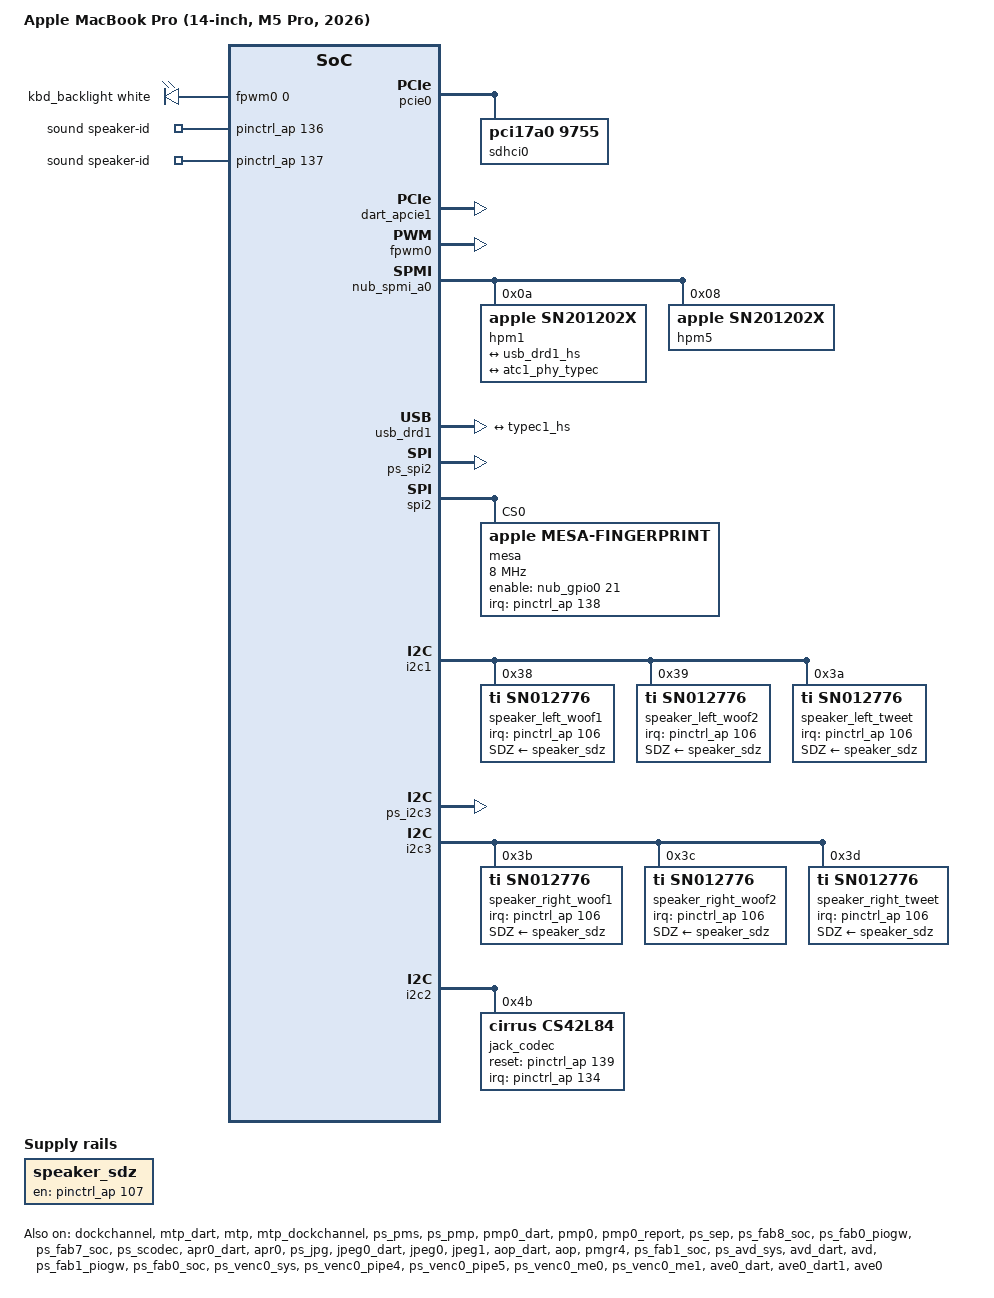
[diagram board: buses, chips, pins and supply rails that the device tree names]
// SPDX-License-Identifier: GPL-2.0+ OR MIT
/*
 * MacBook Pro (14-inch, M5 Pro, 2026)
 *
 * target-type: J714s
 *
 * One T6050 die (t6050-max.dtsi). Beyond the SoC this file adds the board's
 * hardware inventory (t6050-peripherals.dtsi) from the board's ADT, disabled
 * except for the PMP below.
 *
 * Copyright The Asahi Linux Contributors
 */

/dts-v1/;

#define T6050_J714S
#include <dt-bindings/leds/common.h>
#include "t6050-max.dtsi"

/* The console on the USB debug link: ADT dockchannel-uart, channel 1 */
/ {
	aliases {
		serial0 = &dockchannel;
	};

	chosen {
		stdout-path = "serial0:1500000n8";
	};
};

/*
 * It drains only while a host reads it; the machine also boots with nothing
 * attached there.
 */
&dockchannel {
	apple,tx-never-wait;
	status = "okay";
};

/ {
	compatible = "apple,j714s", "apple,t6050", "apple,arm-platform";
	model = "Apple MacBook Pro (14-inch, M5 Pro, 2026)";
	chassis-type = "laptop";

	aliases {
		/* the boot loader reserves the SEP firmware and adds its manifests through this alias */
		sep = &sep;
	};

	chosen {
		#address-cells = <2>;
		#size-cells = <2>;
		ranges;

		framebuffer0: framebuffer@0 {
			compatible = "apple,simple-framebuffer", "simple-framebuffer";
			reg = <0 0 0 0>; /* To be filled by the loader */
			/* Format properties will be added by the loader */
			status = "disabled";
		};
	};
};

/*
 * PCIe port 0: the N1 (Wi-Fi and Bluetooth), as on J716s. ADT apcie0 gives port
 * 0's registers and IRQ 1523, and pci-bridge0's PERST# is GPIO 80; the N1's three
 * functions are on DART streams 1-3. The boot loader trains the link and then
 * enables port 0 and its DART.
 *
 * PCIe port 1: the SD card reader (ADT pci-bridge1/pcie-sdreader, a GL9755). The
 * boot loader leaves it down, so the kernel trains it: its power is the SMC pcIO
 * output of the ADT's function-sd_pwr_en, its PERST# GPIO 81, its IRQ 1531, and
 * the link tunables below are pci-bridge1's. It is on stream 1 of dart-apcie1,
 * which answers only once the root complex is up. The kernel's train reads the
 * shared PHY's state (ADT reg[3]); the boot loader leaves it up with port 0.
 */
/ {
	aliases {
		/* The loader fills the N1's factory addresses through these */
		wifi0 = &n1_alpha;
		bluetooth0 = &n1_beta;
	};
};

&pcie0 {
	reg = <0x1c 0xb0000000 0x0 0x10000000>,
	      <0x4 0x14000000 0x0 0x4000>,
	      <0x4 0x10028000 0x0 0x8000>,
	      <0x4 0x17010000 0x0 0x4000>,
	      <0x4 0x10024000 0x0 0x4000>,
	      <0x4 0x11028000 0x0 0x8000>,
	      <0x4 0x17014000 0x0 0x4000>,
	      <0x4 0x11024000 0x0 0x4000>,
	      <0x4 0x17020000 0x0 0x4000>;
	reg-names = "config", "rc", "port0", "phy0", "intr2axi0", "port1", "phy1", "intr2axi1",
		    "phy-shared";
	interrupts = <AIC_IRQ 0 1523 IRQ_TYPE_LEVEL_HIGH>,
		     <AIC_IRQ 0 1531 IRQ_TYPE_LEVEL_HIGH>;
	interrupt-names = "port0", "port1";
	iommu-map = <0x100 &dart_apcie0 1 3>,
		    <0x200 &dart_apcie1 1 1>;
	bus-range = <0 4>;
	/* dart_apcie1 probes only once port 1 is up: the host must not wait for it */
	post-init-providers = <&dart_apcie1>;
	status = "okay";

	port00: pci@0,0 {
		device_type = "pci";
		reg = <0x0 0 0 0 0>;
		bus-range = <1 1>;
		apple,link-trained-by-bootloader;
		/* PERST#: ADT pci-bridge0 function-perst, GPIO 80 */
		reset-gpios = <&pinctrl_ap 80 GPIO_ACTIVE_LOW>;
		status = "disabled";

		#address-cells = <3>;
		#size-cells = <2>;
		ranges;

		interrupt-controller;
		#interrupt-cells = <1>;
		interrupt-map-mask = <0 0 0 7>;
		interrupt-map = <0 0 0 1 &port00 0 0 0 0>,
				<0 0 0 2 &port00 0 0 0 1>,
				<0 0 0 3 &port00 0 0 0 2>,
				<0 0 0 4 &port00 0 0 0 3>;

		/* platform ID (ADT /chosen board-id 0x08 << 16) | chip 0x6050 */
		n1_control: control@0,0 {
			compatible = "pci106b,1900";
			reg = <0x10000 0x0 0x0 0x0 0x0>;
			firmware-name = "apple/centauri/j714s-ftab.bin";
			apple,centauri-platform-id = <0x00086050>;
			apple,centauri-protocol = <27>;
		};

		n1_alpha: wifi@0,1 {
			compatible = "pci106b,1902";
			reg = <0x10100 0x0 0x0 0x0 0x0>;
			local-mac-address = [00 00 00 00 00 00];
		};

		n1_beta: bluetooth@0,2 {
			compatible = "pci106b,1903";
			reg = <0x10200 0x0 0x0 0x0 0x0>;
			local-bd-address = [00 00 00 00 00 00];
		};
	};

	port01: pci@1,0 {
		device_type = "pci";
		reg = <0x800 0 0 0 0>;
		bus-range = <2 2>;
		/* Down at boot: the kernel trains it, powering the reader first */
		apple,link-trained-by-bootloader;
		pwren-gpios = <&smc_pcio 0 GPIO_ACTIVE_HIGH>;
		/* PERST#: ADT pci-bridge1 function-perst, GPIO 81 */
		reset-gpios = <&pinctrl_ap 81 GPIO_ACTIVE_LOW>;
		apple,apcie-config-tunables = <0x140 4 0x1 0x1>,
			<0x144 4 0xffffff 0x253770>,
			<0x8a8 4 0x1 0x1>,
			<0x8ac 4 0x1 0x1>;
		apple,pcie-rc-tunables = <0x78 4 0x7000 0x0>,
			<0x194 4 0x2 0x2>,
			<0xb80 4 0x7f3f3f 0x7f1e1e>,
			<0xb88 4 0x7f3f3f 0x7f1e1e>;
		apple,pcie-rc-gen3-shadow-tunables = <0x154 4 0xf0f0f0f 0x5050505>,
			<0x890 4 0x3000000 0x0>,
			<0x8a8 4 0xffff0f 0x1>;
		apple,pcie-rc-gen4-shadow-tunables = <0x178 4 0xffff 0x5555>,
			<0x890 4 0x3000000 0x1000000>,
			<0x8a8 4 0xffff0f 0x1>;
		apple,pcie-rc-gen5-shadow-tunables = <0x1ac 4 0xffff 0x5555>,
			<0x890 4 0x3000000 0x2000000>,
			<0x8a8 4 0xffff0f 0x1>;

		#address-cells = <3>;
		#size-cells = <2>;
		ranges;

		interrupt-controller;
		#interrupt-cells = <1>;
		interrupt-map-mask = <0 0 0 7>;
		interrupt-map = <0 0 0 1 &port01 0 0 0 0>,
				<0 0 0 2 &port01 0 0 0 1>,
				<0 0 0 3 &port01 0 0 0 2>,
				<0 0 0 4 &port01 0 0 0 3>;

		/* The GL9755; card detect and write protect active high (ADT *-polarity = 1) */
		sdhci0: mmc@0,0 {
			compatible = "pci17a0,9755";
			reg = <0x20000 0x0 0x0 0x0 0x0>;
			cd-inverted;
			wp-inverted;
		};
	};
};

/*
 * Pin 112 takes an SError when read (as on J716c and J716s), so only the pins
 * nodes here name are exposed: 80 and 81, PCIe ports 0 and 1's PERST#; 106 and 107,
 * the speaker amps' interrupt and shutdown line; 134 and 139, the jack codec's
 * interrupt and reset; 136 and 137, the speaker ID; 138, the Touch ID sensor's
 * data-ready line.
 */
&pinctrl_ap {
	gpio-reserved-ranges = <0 80>, <82 24>, <108 26>, <135 1>, <140 81>;
};

/* It answers only once port 1's root complex is up: pcie-apple then enables it */
&dart_apcie1 {
	apple,manual-availability;
	status = "okay";
};

/* The keyboard backlight: ADT pwm0/kbd-backlight, channel 0 at 25 kHz */
/ {
	aliases {
		/* The loader fills the keyboard layout from the ADT's keyboard node */
		keyboard = &keyboard;
	};

	led-controller {
		compatible = "pwm-leds";

		led-0 {
			pwms = <&fpwm0 0 40000>;
			label = "kbd_backlight";
			function = LED_FUNCTION_KBD_BACKLIGHT;
			color = <LED_COLOR_ID_WHITE>;
			max-brightness = <255>;
			default-state = "keep";
		};
	};
};

&fpwm0 {
	status = "okay";
};

/* The MTP and its DockChannel FIFO, which carry the keyboard and trackpad */
&mtp_mbox {
	status = "okay";
};

&mtp_dart {
	status = "okay";
};

&mtp {
	status = "okay";
};

/*
 * The keyboard and trackpad: the HID transport on the MTP's DockChannel FIFO
 * (ADT dockchannel-mtp/mtp-transport: multi-touch, keyboard, stm, actuator,
 * tp-accel), as on J716s.
 */
&mtp_dockchannel {
	status = "okay";

	mtp_hid: input@8000 {
		compatible = "apple,dockchannel-hid";
		reg = <0x8000 0x1000>, <0xc000 0x1000>,
		      <0x0 0x1000>, <0x4000 0x1000>;
		reg-names = "config", "data", "rmt-config", "rmt-data";
		iommus = <&mtp_dart 0>;
		interrupt-parent = <&mtp_dockchannel>;
		interrupts = <2 IRQ_TYPE_LEVEL_HIGH>,
			     <3 IRQ_TYPE_LEVEL_HIGH>;
		interrupt-names = "tx", "rx";
		apple,fifo-size = <0x800>;
		apple,helper-cpu = <&mtp>;
		/*
		 * ADT mtp function-afe-reset is the SMC pcIO template (0x10000, 0x11c0000),
		 * the same line as SMC GPIO gp1c, active low, which gpio-macsmc drives.
		 */
		apple,afe-reset-gpios = <&smc_gpio_low 28 GPIO_ACTIVE_LOW>;

		multi-touch {
			apple,power-method = <2>;
			firmware-name = "apple/tpmtfw-j714s.bin";
		};

		keyboard: keyboard {
			hid-country-code = <0>;
			apple,keyboard-layout-id = <0>;
		};

		stm {
		};

		actuator {
		};

		tp-accel {
		};
	};
};

/*
 * The SMC pcIO outputs this board drives, as pKW8('pcIO', lo, hi) templates written
 * (hi << 32) | lo with the level in the low bits. The AFE reset above uses gp1c.
 *   0 sd_pwr_en (0x0, 0x190000): ADT pcie-sdreader function-sd_pwr_en
 */
&smc_pcio {
	apple,output-commands = /bits/ 64 <0x0019000000000000>;
};

#include "t6050-peripherals.dtsi"

/*
 * Type-C, from the ADT:
 *   ATC0 usb-drd0 left-back  hpm0 nub-spmi-a0 0x0c (the debug port)
 *   ATC1 usb-drd1 left-front hpm1 nub-spmi-a0 0x0a
 *   ATC2 usb-drd2 right      hpm2 nub-spmi-a1 0x0c
 *   hpm5 nub-spmi-a0 0x08 (MagSafe 3, power in only: no connector node)
 * There is no usb-drd3 and no nub-spmi-a2, so ATC3's USB chain and that bus stay
 * off. The left-front and right ports are wired as on J716s; the left-back port is in
 * t6050-j714s-left-back.dtsi.
 */
&atc3_phy_mbox {
	status = "disabled";
};

&atc3_phy {
	status = "disabled";
};

&usb_drd3 {
	status = "disabled";
};

&usb_drd3_dart_0 {
	status = "disabled";
};

&usb_drd3_dart_1 {
	status = "disabled";
};

&nub_spmi_a2 {
	status = "disabled";
};

/* Left-front port (ATC1): the SN201202x hpm1 and the connector graph */
&nub_spmi_a0 {
	hpm1: usb-pd@a {
		compatible = "apple,sn201202x";
		reg = <0xa SPMI_USID>;

		typec1: connector {
			compatible = "usb-c-connector";
			label = "USB-C Left-front";
			power-role = "dual";
			data-role = "dual";

			ports {
				#address-cells = <1>;
				#size-cells = <0>;

				port@0 {
					reg = <0>;
					typec1_hs: endpoint {
						remote-endpoint = <&usb_drd1_hs>;
					};
				};

				port@1 {
					reg = <1>;
					typec1_ss: endpoint {
						remote-endpoint = <&atc1_phy_typec>;
					};
				};
			};
		};
	};

	/*
	 * The MagSafe 3 port's PD controller (ADT hpm5, port-type 0x11). It has no USB data
	 * path, so it gets no connector node; tipd registers a Type-C port and a power supply
	 * for it, as on J616s. Its ADT features-supported is <3>, "Power In" only: no liquid
	 * detection (LDCM, feature 2 of the USB-C ports' <1 2 3>).
	 */
	hpm5: usb-pd@8 {
		compatible = "apple,sn201202x";
		reg = <0x8 SPMI_USID>;
		apple,no-liquid-detection;
	};
};

&usb_drd1 {
	port {
		usb_drd1_hs: endpoint {
			remote-endpoint = <&typec1_hs>;
		};
	};
};

&atc1_phy {
	port {
		atc1_phy_typec: endpoint {
			remote-endpoint = <&typec1_ss>;
		};
	};
};

/*
 * Right port (ATC2): hpm2 on nub-spmi-a1, with USB and the USB4/Thunderbolt router. The
 * inventory's nub-spmi-a1 has the generation 4 bus's three register windows and IRQ (ADT
 * nub-spmi-a1). The driver polls it and refuses an interrupt, so it takes the command window
 * and the fault queue's (ADT reg[0] and reg[1]), as for nub-spmi-a0 below.
 */
&nub_spmi_a1 {
	reg = <0x2 0x8a1a8000 0x0 0x4000>,
	      <0x2 0x8a1a4000 0x0 0x4000>;
	/delete-property/ interrupts;
	status = "okay";
};

/* nub-spmi-a0's fault queue window (ADT reg[1]), which macOS empties when the controller starts */
&nub_spmi_a0 {
	reg = <0x2 0x8a188000 0x0 0x4000>,
	      <0x2 0x8a184000 0x0 0x4000>;
};

#include "t6050-max-atc2.dtsi"

/* The host DROM from the J714sAP ADT (/arm-io/acio2 thunderbolt-drom); the boot loader replaces it */
&acio2_nhi {
	apple,thunderbolt-drom = [fd 02 00 00 00 00 00 00 00 90 19 c3 8c 00 5c 00
			00 00 00 00 00 00 08 81 82 02 82 00 00 00 08 82
			92 01 82 00 00 00 03 83 20 08 84 00 00 00 00 00
			00 08 85 00 00 00 00 00 00 05 86 09 01 00 08 87
			00 00 00 00 00 00 05 88 09 01 00 05 89 09 01 00
			05 8a 09 01 00 0e 01 41 70 70 6c 65 2c 20 49 6e
			63 2e 00 06 02 69 4f 53 00 00 00 00];
};

/* Left-front port (ATC1): the USB4/Thunderbolt router and its PCIe tunnel */
#include "t6050-j714s-left-usb4.dtsi"

/* Left-back port (ATC0) */
#include "t6050-j714s-left-back.dtsi"

/* Reserve ATC0 LSTX until aura hands it over; ATC1/2 retain their pins. */
&pinctrl_aop {
	gpio-reserved-ranges = <0 79>, <80 1>, <82 3>;
};

/*
 * The PMP (ADT pmp0, /chosen, /arm-io/pmgr). iBoot loads its firmware and the driver starts it
 * with these boot arguments and the firmware properties below. Its report tells it which devices
 * are on; it then votes DCS and the fabric for GPU load itself, and the PMC honours that next
 * to the CLPC. The report, the PMP's vote and the GPU's request are enabled together, so the
 * GPU never waits on a disabled report.
 */
&ps_pms {
	status = "okay";
};

&ps_pmp {
	status = "okay";
};

&ps_pms_sram {
	status = "okay";
};

&pmp0_dart {
	status = "okay";
};

&pmp0_mbox {
	status = "okay";
};

&pmp0 {
	/* ADT /chosen board-id, dram-vendor-id */
	apple,board-id = <8>;
	apple,dram-vendor-id = <255>;
	/* ADT /arm-io/pmgr pmc, pmc-pmgr */
	apple,pmc = <1>;
	apple,pmc-pmgr = <63>;
	status = "okay";
};

&pmp0_report {
	status = "okay";
};

/*
 * The PMP runs a control loop on the die's hot-spot sensors and publishes an effort for each
 * cluster in its FAST-DIE-CE range, in the order of the ADT's fast-die-ctrl-ce-map: MACC0, MACC1
 * and PACC_ANE (the P cluster). The OS enforces it as a frequency limit; the ADT's CLPC node lists
 * the same range among its ptd-ranges. Without the limit the clusters keep their top state while
 * the effort sits at its maximum under a sustained all-core load. Until the PMP reports that it
 * runs (also on a boot without the PMP driver), cpufreq holds each cluster at its fallback limit.
 */
&cpufreq_mc0 {
	apple,fast-die-effort = <&pmp0_report 0>;
};

&cpufreq_mc1 {
	apple,fast-die-effort = <&pmp0_report 1>;
};

&cpufreq_pc {
	apple,fast-die-effort = <&pmp0_report 2>;
};

&pmc {
	/* PMP, CLPC and AP agents, once the PMP runs */
	apple,static-voters = <0 1 3>;
	apple,pmp = <&pmp0>;
};

&sgx {
	power-domains = <&pmp0_gfx>;
};

/*
 * The SEP (ADT sep, dart-sep): its mailbox, and its power domain with the two
 * fabric parents left to the firmware, which genpd votes on and never turns off.
 * The boot loader enables the SEP itself through its alias.
 */
&sep_mbox {
	status = "okay";
};

&ps_sep {
	status = "okay";
};

&ps_fab8_soc {
	apple,firmware-owned;
	status = "okay";
};

&ps_fab0_piogw {
	apple,firmware-owned;
	status = "okay";
};

/*
 * Touch ID (ADT spi2/mesa): J616s's Mesa sensor (sensor-id 0x3356) at 8 MHz on
 * chip select 0, powered by NUB GPIO 21 (function-mesa_pwr), data ready on AP
 * GPIO 138. The controller's clock (ADT clock-ids 451) is the 24 MHz reference.
 */
&ps_nub_gpio {
	status = "okay";
};

&nub_gpio0 {
	status = "okay";
};

&ps_spi2 {
	status = "okay";
};

&spi2 {
	clocks = <&clkref>;
	status = "okay";

	mesa: fingerprint@0 {
		compatible = "apple,mesa-fingerprint";
		reg = <0>;
		spi-max-frequency = <8000000>;
		spi-cpol;
		spi-cs-setup-delay-ns = <20>;
		spi-cs-hold-delay-ns = <20>;
		enable-gpios = <&nub_gpio0 21 GPIO_ACTIVE_HIGH>;
		interrupt-parent = <&pinctrl_ap>;
		interrupts = <138 IRQ_TYPE_EDGE_RISING>;
		/* Per-device factory data from this Mac's own iBoot system container */
		firmware-name = "apple/mesacal-j714s.bin", "apple/msrk-j714s.bin";
	};
};

/*
 * The ProRes engine (apr0) and its DART, in the SCODEC power state. Its
 * parent fab7-soc also feeds the display pipeline, so it is left to the
 * firmware, as fab0-piogw is.
 */
&ps_fab7_soc {
	apple,firmware-owned;
	status = "okay";
};

&ps_scodec {
	status = "okay";
};

&apr0_dart {
	status = "okay";
};

&apr0 {
	status = "okay";
};

/*
 * Both JPEG engines and their shared DART, under the media fabric that the
 * video encoder above already enables.
 */
&ps_jpg {
	status = "okay";
};

&jpeg0_dart {
	status = "okay";
};

&jpeg0 {
	status = "okay";
};

&jpeg1 {
	status = "okay";
};

#include "t6050-j714s-pmp-tunables.dtsi"

/*
 * SMC sensors, as on J716s except that userspace may set the fans (below): the
 * shared fan, power, voltage and current keys, plus every readable float T* key
 * through apple,discover-temperatures in t6050-die0.dtsi, labelled with the key
 * name. A key this SMC lacks only drops its channel.
 *
 * Discovery refuses to run once any temperature channel exists, so the shared
 * temperature nodes go (their keys are discovered anyway), and so does
 * apple,soc-die-keys, whose channel would also count. Only the macsmc_soc_die
 * thermal zone is lost.
 */
#include "hwmon-common.dtsi"
#include "hwmon-fan-dual.dtsi"
#include "hwmon-laptop.dtsi"

&smc_hwmon {
	/delete-property/ apple,soc-die-keys;
	/delete-node/ temperature-TH0x;
	/delete-node/ temperature-TB0T;
	/delete-node/ temperature-TCHP;
	/delete-node/ temperature-TW0P;

	/*
	 * The T6050 SMC spells the fan mode keys F0md/F1md. The SMC drives the
	 * fans (the M5 GPU governor sets them through macsmc_hwmon_fans_request()
	 * as well); it also accepts a manual speed for both from userspace and
	 * returns them to firmware control when the request is dropped.
	 */
	fan-F0Ac {
		apple,fan-mode = "F0md";
		apple,fan-manual-control;
	};

	fan-F1Ac {
		apple,fan-mode = "F1md";
		apple,fan-manual-control;
	};
};

/* The same T6050 camera as J716c (J714sAP ADT); the loader sets the J714s sensor type. */
#include "t6050-j716c-isp.dtsi"

/*
 * The J714s camera sizes: sensor config 8 (the 3040x2880 frame binned 2x2 to 1520x1440)
 * cropped and scaled by the ISP per size. Binning averages four pixels: indoors it shows
 * a third to a fifth of the luma noise and about half the colour noise of the
 * full-resolution configs (5, 6, 7 and 0), for some fine detail. Each crop is centred on
 * the frame, where the lens covers it: the landscape sizes take two-thirds of its width,
 * the portrait sizes the same length of its height and the square that side. The binned
 * crops are too small for the driver to derive 1280x960 and 960x1280 from them without
 * upscaling, so those two are listed as well.
 */
&isp0 {
	/delete-node/ sensor-presets;

	sensor-presets {
		/* 1920x1080 */
		preset0 {
			apple,config-index = <8>;
			apple,input-size = <1520 1440>;
			apple,output-size = <1920 1080>;
			apple,crop = <254 434 1012 570>;
		};
		/* 640x480 */
		preset1 {
			apple,config-index = <8>;
			apple,input-size = <1520 1440>;
			apple,output-size = <640 480>;
			apple,crop = <254 340 1012 760>;
		};
		/* 1280x720 */
		preset2 {
			apple,config-index = <8>;
			apple,input-size = <1520 1440>;
			apple,output-size = <1280 720>;
			apple,crop = <254 434 1012 570>;
		};
		/* 1760x1328 */
		preset3 {
			apple,config-index = <8>;
			apple,input-size = <1520 1440>;
			apple,output-size = <1760 1328>;
			apple,crop = <254 338 1012 764>;
		};
		/* 1328x1760 */
		preset4 {
			apple,config-index = <8>;
			apple,input-size = <1520 1440>;
			apple,output-size = <1328 1760>;
			apple,crop = <378 214 764 1012>;
		};
		/* 1552x1552 */
		preset5 {
			apple,config-index = <8>;
			apple,input-size = <1520 1440>;
			apple,output-size = <1552 1552>;
			apple,crop = <254 214 1012 1012>;
		};
		/* 1080x1920 */
		preset6 {
			apple,config-index = <8>;
			apple,input-size = <1520 1440>;
			apple,output-size = <1080 1920>;
			apple,crop = <474 214 570 1012>;
		};
		/* 1280x960 */
		preset7 {
			apple,config-index = <8>;
			apple,input-size = <1520 1440>;
			apple,output-size = <1280 960>;
			apple,crop = <254 340 1012 760>;
		};
		/* 960x1280 */
		preset8 {
			apple,config-index = <8>;
			apple,input-size = <1520 1440>;
			apple,output-size = <960 1280>;
			apple,crop = <380 214 760 1012>;
		};
	};
};

/* The GPU and the internal panel, for the boot loader's handoff */
#include "t6050-j714s-gpu-panel.dtsi"

/* External displays, on the left-front and right ports */
#include "t6050-j714s-display.dtsi"

/* DisplayPort audio of dcpext0's displays */
#include "t6050-j714s-dpaudio.dtsi"

/* The Neural Engine, started only after the boot loader's preload hand-off */
#include "t6050-j714s-ane.dtsi"
#include "t6050-j714s-sleep.dtsi"
#include "t6050-j714s-sleep-soc.dtsi"
#include "t6050-j714s-sleep-adt.dtsi"

/*
 * Sound through the AOP, as on J813: its audio service runs the serializers, the
 * CS42L84 headphone jack on admac-base-ns TX2/RX2 and the six SN012776 speaker amps
 * on TX0, their voltage and current sense on RX0 (ADT iop-audio-controller).
 *
 * The amps (ADT /arm-io/i2c1/audio-speaker* and /arm-io/i2c3/audio-speaker*) share
 * one shutdown line, AP pin 107 (function-reset of the first), and one fault
 * interrupt, pin 106. The ADT's speaker-config gives amp N playback slot N, its
 * voltage sense in slot 4N and current sense in 4N+2, in the order of the first
 * amp's speakerN: left woofer 1, right woofer 1, left woofer 2, right woofer 2,
 * left tweeter, right tweeter. The firmware's speaker frame is 250 BCLKs of 12 MHz
 * (ADT audio-speaker stream), which the amps' ratio detection rejects.
 */
/ {
	speaker_sdz: regulator-sn012776-sdz {
		compatible = "regulator-fixed";
		regulator-name = "sn012776-sdz";
		gpios = <&pinctrl_ap 107 GPIO_ACTIVE_HIGH>;
		enable-active-high;
	};
};

&i2c1 {
	status = "okay";

	speaker_left_woof1: codec@38 {
		compatible = "ti,sn012776", "ti,tas2764";
		reg = <0x38>;
		SDZ-supply = <&speaker_sdz>;
		apple,sdz-group-fail-closed;
		#sound-dai-cells = <0>;
		sound-name-prefix = "Left Woofer 1";
		interrupts-extended = <&pinctrl_ap 106 IRQ_TYPE_LEVEL_LOW>;
		ti,imon-slot-no = <2>;
		ti,vmon-slot-no = <0>;
		ti,bclk-ratio = <250>;
	};

	speaker_left_woof2: codec@39 {
		compatible = "ti,sn012776", "ti,tas2764";
		reg = <0x39>;
		SDZ-supply = <&speaker_sdz>;
		apple,sdz-group-fail-closed;
		#sound-dai-cells = <0>;
		sound-name-prefix = "Left Woofer 2";
		interrupts-extended = <&pinctrl_ap 106 IRQ_TYPE_LEVEL_LOW>;
		ti,imon-slot-no = <10>;
		ti,vmon-slot-no = <8>;
		ti,bclk-ratio = <250>;
	};

	speaker_left_tweet: codec@3a {
		compatible = "ti,sn012776", "ti,tas2764";
		reg = <0x3a>;
		SDZ-supply = <&speaker_sdz>;
		apple,sdz-group-fail-closed;
		#sound-dai-cells = <0>;
		sound-name-prefix = "Left Tweeter";
		interrupts-extended = <&pinctrl_ap 106 IRQ_TYPE_LEVEL_LOW>;
		ti,imon-slot-no = <18>;
		ti,vmon-slot-no = <16>;
		ti,bclk-ratio = <250>;
	};
};

/* The I2C power states have no described parent (SIO), as for i2c1 and i2c2 */
&ps_i2c3 {
	/delete-property/ power-domains;
	status = "okay";
};

&i2c3 {
	/* The ADT gives i2c1, i2c2 and i2c3 the same clock-ids (4) */
	clocks = <&clkref>;
	status = "okay";

	speaker_right_woof1: codec@3b {
		compatible = "ti,sn012776", "ti,tas2764";
		reg = <0x3b>;
		SDZ-supply = <&speaker_sdz>;
		apple,sdz-group-fail-closed;
		#sound-dai-cells = <0>;
		sound-name-prefix = "Right Woofer 1";
		interrupts-extended = <&pinctrl_ap 106 IRQ_TYPE_LEVEL_LOW>;
		ti,imon-slot-no = <6>;
		ti,vmon-slot-no = <4>;
		ti,bclk-ratio = <250>;
	};

	speaker_right_woof2: codec@3c {
		compatible = "ti,sn012776", "ti,tas2764";
		reg = <0x3c>;
		SDZ-supply = <&speaker_sdz>;
		apple,sdz-group-fail-closed;
		#sound-dai-cells = <0>;
		sound-name-prefix = "Right Woofer 2";
		interrupts-extended = <&pinctrl_ap 106 IRQ_TYPE_LEVEL_LOW>;
		ti,imon-slot-no = <14>;
		ti,vmon-slot-no = <12>;
		ti,bclk-ratio = <250>;
	};

	speaker_right_tweet: codec@3d {
		compatible = "ti,sn012776", "ti,tas2764";
		reg = <0x3d>;
		SDZ-supply = <&speaker_sdz>;
		apple,sdz-group-fail-closed;
		#sound-dai-cells = <0>;
		sound-name-prefix = "Right Tweeter";
		interrupts-extended = <&pinctrl_ap 106 IRQ_TYPE_LEVEL_LOW>;
		ti,imon-slot-no = <22>;
		ti,vmon-slot-no = <20>;
		ti,bclk-ratio = <250>;
	};
};

/*
 * The CS42L84 headphone codec (ADT /arm-io/i2c2/audio-codec-output): its reset line
 * is AP pin 139, driven high to run the codec, and its interrupt AP pin 134, level
 * low.
 */
&i2c2 {
	status = "okay";

	jack_codec: codec@4b {
		compatible = "cirrus,cs42l84";
		reg = <0x4b>;
		reset-gpios = <&pinctrl_ap 139 GPIO_ACTIVE_HIGH>;
		interrupts-extended = <&pinctrl_ap 134 IRQ_TYPE_LEVEL_LOW>;
		#sound-dai-cells = <0>;
		sound-name-prefix = "Jack";
	};
};

/ {
	sound {
		compatible = "apple,j714-macaudio", "apple,macaudio";
		model = "MacBook Pro J714";
		/* ADT audio-speaker function-speaker-id0 and -id1 */
		speaker-id-gpios = <&pinctrl_ap 136 GPIO_ACTIVE_HIGH>,
				   <&pinctrl_ap 137 GPIO_ACTIVE_HIGH>;
		#address-cells = <1>;
		#size-cells = <0>;

		dai-link@0 {
			reg = <0>;
			link-name = "Headphone Jack";

			cpu {
				sound-dai = <&aop_audio 0>;
			};

			codec {
				sound-dai = <&jack_codec>;
			};
		};

		dai-link@1 {
			reg = <1>;
			link-name = "Speaker";
			/*
			 * Codecs in ADT speaker-config order, so that macaudio gives them
			 * playback slots 0-5 as macOS does (left channels in slots 0, 2
			 * and 4, right in 1, 3 and 5). The idle masks are the ADT
			 * amp-tx-zd-config rows 0 and 1: left woofer 1 drives zeros in the
			 * right amps' sense slots, right woofer 1 in the left amps'.
			 */
			dai-tdm-idle-mode-0 = "zero";
			dai-tdm-slot-tx-idle-mask-0 = <0xfff0f0f0>;
			dai-tdm-idle-mode-1 = "zero";
			dai-tdm-slot-tx-idle-mask-1 = <0xff0f0f0f>;

			cpu {
				sound-dai = <&aop_audio 3>;
			};

			codec {
				sound-dai = <&speaker_left_woof1>, <&speaker_right_woof1>,
					    <&speaker_left_woof2>, <&speaker_right_woof2>,
					    <&speaker_left_tweet>, <&speaker_right_tweet>;
			};
		};
	};
};

/* The AOP, booted through its setup port, with its sensor and audio services. */
&aop_mbox {
	status = "okay";
};

&aop_setup_mbox {
	status = "okay";
};

&aop_dart {
	status = "okay";
};

&aop {
	status = "okay";
};

/*
 * The microphone array: ADT audio-hp-mic, three microphones on leap-s RX0 through the
 * proxy ADMAC (Linux channel 1, as on J813), captured by the AOP audio service's own card.
 */
&admac_base_ns {
	status = "okay";
};

&admac_ec_proxy {
	status = "okay";
};

&aop_audio {
	apple,chassis-name = "J714";
	apple,machine-kind = "MacBook Pro";
	dmas = <&admac_base_ns 4>, <&admac_base_ns 5>,
	       <&admac_base_ns 0>, <&admac_base_ns 1>,
	       <&admac_ec_proxy 1>;
	dma-names = "cout", "cin", "spkr", "sense", "hpai";
};

/* The video decoder (J714sAP ADT avd0, as on the J714c), its DART and power states. */
&pmgr4 {
	status = "okay";
};

/* macOS turns FAB1_SOC on once at boot and never gates it. */
&ps_fab1_soc {
	apple,always-on;
	status = "okay";
};

&ps_avd_sys {
	status = "okay";
};

&avd_dart {
	status = "okay";
};

&avd {
	status = "okay";
};

/*
 * The video encoder (J714sAP ADT ave0), its DARTs and the VENC0 power states. Like
 * FAB1_SOC, macOS sets FAB0_SOC active once at boot and never gates it; the PIO
 * gateway above it is left to the firmware.
 */
&ps_fab1_piogw {
	apple,firmware-owned;
	status = "okay";
};

&ps_fab0_soc {
	apple,always-on;
	status = "okay";
};

&ps_venc0_sys {
	status = "okay";
};

&ps_venc0_dma {
	status = "okay";
};

&ps_venc0_pipe4 {
	status = "okay";
};

&ps_venc0_pipe5 {
	status = "okay";
};

&ps_venc0_me0 {
	status = "okay";
};

&ps_venc0_me1 {
	status = "okay";
};

&ave0_dart {
	status = "okay";
};

&ave0_dart1 {
	status = "okay";
};

&ave0 {
	status = "okay";
};
